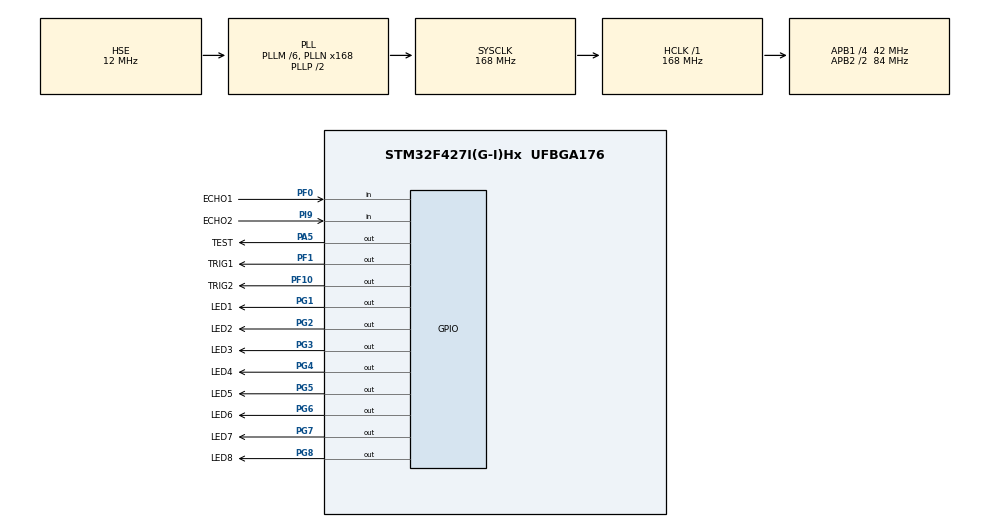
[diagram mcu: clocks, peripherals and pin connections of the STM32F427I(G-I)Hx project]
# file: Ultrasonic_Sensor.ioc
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Mcu.Family=STM32F4
Mcu.Name=STM32F427I(G-I)Hx
Mcu.Package=UFBGA176
NVIC.PriorityGroup=NVIC_PRIORITYGROUP_4
PA13.Mode=Serial_Wire
PA13.Signal=SYS_JTMS-SWDIO
PA14.Mode=Serial_Wire
PA14.Signal=SYS_JTCK-SWCLK
PA5.GPIO_Label=TEST
PA5.Signal=GPIO_Output
PF0.GPIO_Label=ECHO1
PF0.Signal=GPIO_Input
PF1.GPIO_Label=TRIG1
PF1.Signal=GPIO_Output
PF10.GPIO_Label=TRIG2
PF10.Signal=GPIO_Output
PG1.GPIO_Label=LED1
PG1.Signal=GPIO_Output
PG2.GPIO_Label=LED2
PG2.Signal=GPIO_Output
PG3.GPIO_Label=LED3
PG3.Signal=GPIO_Output
PG4.GPIO_Label=LED4
PG4.Signal=GPIO_Output
PG5.GPIO_Label=LED5
PG5.Signal=GPIO_Output
PG6.GPIO_Label=LED6
PG6.Signal=GPIO_Output
PG7.GPIO_Label=LED7
PG7.Signal=GPIO_Output
PG8.GPIO_Label=LED8
PG8.Signal=GPIO_Output
PH0/OSC_IN.Mode=HSE-External-Oscillator
PH0/OSC_IN.Signal=RCC_OSC_IN
PH1/OSC_OUT.Mode=HSE-External-Oscillator
PH1/OSC_OUT.Signal=RCC_OSC_OUT
PI9.GPIO_Label=ECHO2
PI9.Signal=GPIO_Input
ProjectManager.HeapSize=0x200
ProjectManager.StackSize=0x400
ProjectManager.TargetToolchain=MDK-ARM V5
RCC.48MHZClocksFreq_Value=84000000
RCC.AHBFreq_Value=168000000
RCC.APB1CLKDivider=RCC_HCLK_DIV4
RCC.APB1Freq_Value=42000000
RCC.APB1TimFreq_Value=84000000
RCC.APB2CLKDivider=RCC_HCLK_DIV2
RCC.APB2Freq_Value=84000000
RCC.APB2TimFreq_Value=168000000
RCC.CortexFreq_Value=168000000
RCC.HCLKFreq_Value=168000000
RCC.HSE_VALUE=12000000
RCC.HSI_VALUE=16000000
RCC.LSE_VALUE=32768
RCC.PLLM=6
RCC.PLLN=168
RCC.PLLSourceVirtual=RCC_PLLSOURCE_HSE
RCC.SYSCLKFreq_VALUE=168000000
RCC.SYSCLKSource=RCC_SYSCLKSOURCE_PLLCLK
RCC.VCOOutputFreq_Value=336000000
TIM4.Period=0xffff-1
TIM4.Prescaler=83
VP_TIM4_VS_ClockSourceINT.Mode=Internal
board=custom

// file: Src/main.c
/* USER CODE BEGIN Header */
/**
  ******************************************************************************
  * @file           : main.c
  * @brief          : Main program body
  ******************************************************************************
  * @attention
  *
  * <h2><center>&copy; Copyright (c) 2021 STMicroelectronics.
  * All rights reserved.</center></h2>
  *
  * This software component is licensed by ST under BSD 3-Clause license,
  * the "License"; You may not use this file except in compliance with the
  * License. You may obtain a copy of the License at:
  *                        opensource.org/licenses/BSD-3-Clause
  *
  ******************************************************************************
  */
/* USER CODE END Header */
#include "main.h"
#include "tim.h"
#include "gpio.h"

/* USER CODE BEGIN PM */
#define usDelay(uSec)                                                          \
    do                                                                         \
    {                                                                          \
        __HAL_TIM_SET_COUNTER(&htim4, 0); /* set the counter value a 0*/       \
        while (__HAL_TIM_GET_COUNTER(&htim4) < uSec)                           \
            ; /* wait for the counter to reach the us input in the parameter*/ \
    } while (0U)
#define ULTRASONIC_MEASURE_RIGHT()                                                              \
    do                                                                                          \
    {                                                                                           \
        /* START Ultrasonic measure routine */                                                  \
        numTicks = 0;                                                                           \
        HAL_GPIO_WritePin(TRIG2_GPIO_Port, TRIG2_Pin, GPIO_PIN_RESET);                          \
        usDelay(3);                                                                             \
        /*1. Output 10 usec TRIG (actually 14us)*/                                              \
        HAL_GPIO_WritePin(TRIG2_GPIO_Port, TRIG2_Pin, GPIO_PIN_SET);                            \
        usDelay(10);                                                                            \
        HAL_GPIO_WritePin(TRIG2_GPIO_Port, TRIG2_Pin, GPIO_PIN_RESET);                          \
        /*2. Wait for ECHO pin rising edge*/                                                    \
        while (HAL_GPIO_ReadPin(ECHO2_GPIO_Port, ECHO2_Pin) == GPIO_PIN_RESET)                  \
            ;                                                                                   \
        /*3. Start measuring ECHO pulse width in usec*/                                         \
        while (HAL_GPIO_ReadPin(ECHO2_GPIO_Port, ECHO2_Pin) == GPIO_PIN_SET && numTicks < 2100) \
        { /* within 1 meter range*/                                                             \
            numTicks++;                                                                         \
            usDelay(2);                                                                         \
        };                                                                                      \
        distance_right = (numTicks + 0.0f) * 2.8f * speedOfSound; /* centimeter*/               \
    } while (0U)
#define ULTRASONIC_MEASURE_LEFT()                                                               \
    do                                                                                          \
    {                                                                                           \
        /* START Ultrasonic measure routine */                                                  \
        numTicks = 0;                                                                           \
        HAL_GPIO_WritePin(TRIG1_GPIO_Port, TRIG1_Pin, GPIO_PIN_RESET);                          \
        usDelay(3);                                                                             \
        /*1. Output 10 usec TRIG (actually 14us)*/                                              \
        HAL_GPIO_WritePin(TRIG1_GPIO_Port, TRIG1_Pin, GPIO_PIN_SET);                            \
        usDelay(10);                                                                            \
        HAL_GPIO_WritePin(TRIG1_GPIO_Port, TRIG1_Pin, GPIO_PIN_RESET);                          \
        /*2. Wait for ECHO pin rising edge*/                                                    \
        while (HAL_GPIO_ReadPin(ECHO1_GPIO_Port, ECHO1_Pin) == GPIO_PIN_RESET)                  \
            ;                                                                                   \
        /*3. Start measuring ECHO pulse width in usec*/                                         \
        while (HAL_GPIO_ReadPin(ECHO1_GPIO_Port, ECHO1_Pin) == GPIO_PIN_SET && numTicks < 2100) \
        { /* within 1 meter range*/                                                             \
            numTicks++;                                                                         \
            usDelay(2);                                                                         \
        };                                                                                      \
        distance_left = (numTicks + 0.0f) * 2.8f * speedOfSound; /* centimeter*/                \
    } while (0U)
/* USER CODE END PM */

/* USER CODE BEGIN PV */

/***** Ultrasonic variables *****/
uint8_t left_detect = 0;
uint8_t right_detect = 0;

float left_sonic_threshold = 50;
float right_sonic_threshold = 50;

const float speedOfSound = 0.0343 / 2;
float distance_left;
float distance_right;
uint32_t numTicks = 0;

/* USER CODE END PV */

void SystemClock_Config(void);
void ledrowoutput(float distance);
void wiggle(void);

int main(void)
{

    /* MCU Configuration--------------------------------------------------------*/

    /* Reset of all peripherals, Initializes the Flash interface and the Systick. */
    HAL_Init();

    /* Configure the system clock */
    SystemClock_Config();

    /* Initialize all configured peripherals */
    MX_GPIO_Init();
    MX_TIM4_Init();
    /* USER CODE BEGIN 2 */
    HAL_TIM_Base_Start(&htim4);
    /* USER CODE END 2 */

    /* Infinite loop */
    while (1)
    {
        // ULTRASONIC_MEASURE_LEFT();
        // ledrowoutput(distance_left);
        // ULTRASONIC_MEASURE_RIGHT();
        // ledrowoutput(distance_right);
        HAL_GPIO_TogglePin(TEST_GPIO_Port, TEST_Pin);
        usDelay(2);
        // HAL_Delay(10);
    }
}

void SystemClock_Config(void)
{
    RCC_OscInitTypeDef RCC_OscInitStruct = {0};
    RCC_ClkInitTypeDef RCC_ClkInitStruct = {0};

    /** Configure the main internal regulator output voltage
  */
    __HAL_RCC_PWR_CLK_ENABLE();
    __HAL_PWR_VOLTAGESCALING_CONFIG(PWR_REGULATOR_VOLTAGE_SCALE1);
    /** Initializes the RCC Oscillators according to the specified parameters
  * in the RCC_OscInitTypeDef structure.
  */
    RCC_OscInitStruct.OscillatorType = RCC_OSCILLATORTYPE_HSE;
    RCC_OscInitStruct.HSEState = RCC_HSE_ON;
    RCC_OscInitStruct.PLL.PLLState = RCC_PLL_ON;
    RCC_OscInitStruct.PLL.PLLSource = RCC_PLLSOURCE_HSE;
    RCC_OscInitStruct.PLL.PLLM = 6;
    RCC_OscInitStruct.PLL.PLLN = 168;
    RCC_OscInitStruct.PLL.PLLP = RCC_PLLP_DIV2;
    RCC_OscInitStruct.PLL.PLLQ = 4;
    if (HAL_RCC_OscConfig(&RCC_OscInitStruct) != HAL_OK)
    {
        Error_Handler();
    }
    /** Initializes the CPU, AHB and APB buses clocks
  */
    RCC_ClkInitStruct.ClockType = RCC_CLOCKTYPE_HCLK | RCC_CLOCKTYPE_SYSCLK | RCC_CLOCKTYPE_PCLK1 | RCC_CLOCKTYPE_PCLK2;
    RCC_ClkInitStruct.SYSCLKSource = RCC_SYSCLKSOURCE_PLLCLK;
    RCC_ClkInitStruct.AHBCLKDivider = RCC_SYSCLK_DIV1;
    RCC_ClkInitStruct.APB1CLKDivider = RCC_HCLK_DIV4;
    RCC_ClkInitStruct.APB2CLKDivider = RCC_HCLK_DIV2;

    if (HAL_RCC_ClockConfig(&RCC_ClkInitStruct, FLASH_LATENCY_5) != HAL_OK)
    {
        Error_Handler();
    }
}

/* USER CODE BEGIN 4 */

void wiggle(void)
{
    ;
}

// led output, test function
void ledrowoutput(float distance)
{
    if (distance < 12.5f)
    {
        HAL_GPIO_WritePin(LED1_GPIO_Port, LED1_Pin, GPIO_PIN_RESET);
        HAL_GPIO_WritePin(LED2_GPIO_Port, LED2_Pin, GPIO_PIN_SET);
        HAL_GPIO_WritePin(LED3_GPIO_Port, LED3_Pin, GPIO_PIN_SET);
        HAL_GPIO_WritePin(LED4_GPIO_Port, LED4_Pin, GPIO_PIN_SET);
        HAL_GPIO_WritePin(LED5_GPIO_Port, LED5_Pin, GPIO_PIN_SET);
        HAL_GPIO_WritePin(LED6_GPIO_Port, LED6_Pin, GPIO_PIN_SET);
        HAL_GPIO_WritePin(LED7_GPIO_Port, LED7_Pin, GPIO_PIN_SET);
        HAL_GPIO_WritePin(LED8_GPIO_Port, LED8_Pin, GPIO_PIN_SET);
    }
    else if (distance < 25.0f)
    {
        HAL_GPIO_WritePin(LED1_GPIO_Port, LED1_Pin, GPIO_PIN_RESET);
        HAL_GPIO_WritePin(LED2_GPIO_Port, LED2_Pin, GPIO_PIN_RESET);
        HAL_GPIO_WritePin(LED3_GPIO_Port, LED3_Pin, GPIO_PIN_SET);
        HAL_GPIO_WritePin(LED4_GPIO_Port, LED4_Pin, GPIO_PIN_SET);
        HAL_GPIO_WritePin(LED5_GPIO_Port, LED5_Pin, GPIO_PIN_SET);
        HAL_GPIO_WritePin(LED6_GPIO_Port, LED6_Pin, GPIO_PIN_SET);
        HAL_GPIO_WritePin(LED7_GPIO_Port, LED7_Pin, GPIO_PIN_SET);
        HAL_GPIO_WritePin(LED8_GPIO_Port, LED8_Pin, GPIO_PIN_SET);
    }
    else if (distance < 37.5f)
    {
        HAL_GPIO_WritePin(LED1_GPIO_Port, LED1_Pin, GPIO_PIN_RESET);
        HAL_GPIO_WritePin(LED2_GPIO_Port, LED2_Pin, GPIO_PIN_RESET);
        HAL_GPIO_WritePin(LED3_GPIO_Port, LED3_Pin, GPIO_PIN_RESET);
        HAL_GPIO_WritePin(LED4_GPIO_Port, LED4_Pin, GPIO_PIN_SET);
        HAL_GPIO_WritePin(LED5_GPIO_Port, LED5_Pin, GPIO_PIN_SET);
        HAL_GPIO_WritePin(LED6_GPIO_Port, LED6_Pin, GPIO_PIN_SET);
        HAL_GPIO_WritePin(LED7_GPIO_Port, LED7_Pin, GPIO_PIN_SET);
        HAL_GPIO_WritePin(LED8_GPIO_Port, LED8_Pin, GPIO_PIN_SET);
    }
    else if (distance < 50.0f)
    {
        HAL_GPIO_WritePin(LED1_GPIO_Port, LED1_Pin, GPIO_PIN_RESET);
        HAL_GPIO_WritePin(LED2_GPIO_Port, LED2_Pin, GPIO_PIN_RESET);
        HAL_GPIO_WritePin(LED3_GPIO_Port, LED3_Pin, GPIO_PIN_RESET);
        HAL_GPIO_WritePin(LED4_GPIO_Port, LED4_Pin, GPIO_PIN_RESET);
        HAL_GPIO_WritePin(LED5_GPIO_Port, LED5_Pin, GPIO_PIN_SET);
        HAL_GPIO_WritePin(LED6_GPIO_Port, LED6_Pin, GPIO_PIN_SET);
        HAL_GPIO_WritePin(LED7_GPIO_Port, LED7_Pin, GPIO_PIN_SET);
        HAL_GPIO_WritePin(LED8_GPIO_Port, LED8_Pin, GPIO_PIN_SET);
    }
    else if (distance < 62.5f)
    {
        HAL_GPIO_WritePin(LED1_GPIO_Port, LED1_Pin, GPIO_PIN_RESET);
        HAL_GPIO_WritePin(LED2_GPIO_Port, LED2_Pin, GPIO_PIN_RESET);
        HAL_GPIO_WritePin(LED3_GPIO_Port, LED3_Pin, GPIO_PIN_RESET);
        HAL_GPIO_WritePin(LED4_GPIO_Port, LED4_Pin, GPIO_PIN_RESET);
        HAL_GPIO_WritePin(LED5_GPIO_Port, LED5_Pin, GPIO_PIN_RESET);
        HAL_GPIO_WritePin(LED6_GPIO_Port, LED6_Pin, GPIO_PIN_SET);
        HAL_GPIO_WritePin(LED7_GPIO_Port, LED7_Pin, GPIO_PIN_SET);
        HAL_GPIO_WritePin(LED8_GPIO_Port, LED8_Pin, GPIO_PIN_SET);
    }
    else if (distance < 75.0f)
    {
        HAL_GPIO_WritePin(LED1_GPIO_Port, LED1_Pin, GPIO_PIN_RESET);
        HAL_GPIO_WritePin(LED2_GPIO_Port, LED2_Pin, GPIO_PIN_RESET);
        HAL_GPIO_WritePin(LED3_GPIO_Port, LED3_Pin, GPIO_PIN_RESET);
        HAL_GPIO_WritePin(LED4_GPIO_Port, LED4_Pin, GPIO_PIN_RESET);
        HAL_GPIO_WritePin(LED5_GPIO_Port, LED5_Pin, GPIO_PIN_RESET);
        HAL_GPIO_WritePin(LED6_GPIO_Port, LED6_Pin, GPIO_PIN_RESET);
        HAL_GPIO_WritePin(LED7_GPIO_Port, LED7_Pin, GPIO_PIN_SET);
        HAL_GPIO_WritePin(LED8_GPIO_Port, LED8_Pin, GPIO_PIN_SET);
    }
    else if (distance < 87.5f)
    {
        HAL_GPIO_WritePin(LED1_GPIO_Port, LED1_Pin, GPIO_PIN_RESET);
        HAL_GPIO_WritePin(LED2_GPIO_Port, LED2_Pin, GPIO_PIN_RESET);
        HAL_GPIO_WritePin(LED3_GPIO_Port, LED3_Pin, GPIO_PIN_RESET);
        HAL_GPIO_WritePin(LED4_GPIO_Port, LED4_Pin, GPIO_PIN_RESET);
        HAL_GPIO_WritePin(LED5_GPIO_Port, LED5_Pin, GPIO_PIN_RESET);
        HAL_GPIO_WritePin(LED6_GPIO_Port, LED6_Pin, GPIO_PIN_RESET);
        HAL_GPIO_WritePin(LED7_GPIO_Port, LED7_Pin, GPIO_PIN_RESET);
        HAL_GPIO_WritePin(LED8_GPIO_Port, LED8_Pin, GPIO_PIN_SET);
    }
    else
    {
        HAL_GPIO_WritePin(LED1_GPIO_Port, LED1_Pin, GPIO_PIN_RESET);
        HAL_GPIO_WritePin(LED2_GPIO_Port, LED2_Pin, GPIO_PIN_RESET);
        HAL_GPIO_WritePin(LED3_GPIO_Port, LED3_Pin, GPIO_PIN_RESET);
        HAL_GPIO_WritePin(LED4_GPIO_Port, LED4_Pin, GPIO_PIN_RESET);
        HAL_GPIO_WritePin(LED5_GPIO_Port, LED5_Pin, GPIO_PIN_RESET);
        HAL_GPIO_WritePin(LED6_GPIO_Port, LED6_Pin, GPIO_PIN_RESET);
        HAL_GPIO_WritePin(LED7_GPIO_Port, LED7_Pin, GPIO_PIN_RESET);
        HAL_GPIO_WritePin(LED8_GPIO_Port, LED8_Pin, GPIO_PIN_RESET);
    }
}
/* USER CODE END 4 */

void Error_Handler(void)
{
    __disable_irq();
    while (1)
    {
    }
}

/************************ (C) COPYRIGHT STMicroelectronics *****END OF FILE****/
